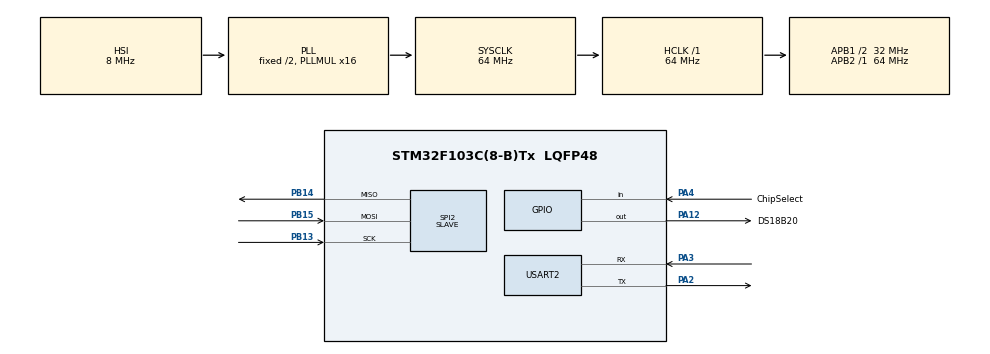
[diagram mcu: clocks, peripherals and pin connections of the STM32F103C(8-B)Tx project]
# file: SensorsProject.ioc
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Mcu.Family=STM32F1
Mcu.Name=STM32F103C(8-B)Tx
Mcu.Package=LQFP48
NVIC.PriorityGroup=NVIC_PRIORITYGROUP_4
NVIC.TIM3_IRQn=true\:10\:0\:true\:false\:true\:true\:true\:true
PA12.GPIO_Label=DS18B20
PA12.GPIO_ModeDefaultOutputPP=GPIO_MODE_OUTPUT_OD
PA12.GPIO_PuPd=GPIO_PULLUP
PA12.PinState=GPIO_PIN_SET
PA12.Signal=GPIO_Output
PA2.Mode=Asynchronous
PA2.Signal=USART2_TX
PA3.Mode=Asynchronous
PA3.Signal=USART2_RX
PA4.GPIO_Label=ChipSelect
PA4.Signal=GPIO_Input
PB13.Mode=Full_Duplex_Slave
PB13.Signal=SPI2_SCK
PB14.Mode=Full_Duplex_Slave
PB14.Signal=SPI2_MISO
PB15.Mode=Full_Duplex_Slave
PB15.Signal=SPI2_MOSI
ProjectManager.HeapSize=0x200
ProjectManager.StackSize=0x400
ProjectManager.TargetToolchain=STM32CubeIDE
RCC.AHBFreq_Value=64000000
RCC.APB1CLKDivider=RCC_HCLK_DIV2
RCC.APB1Freq_Value=32000000
RCC.APB1TimFreq_Value=64000000
RCC.APB2Freq_Value=64000000
RCC.APB2TimFreq_Value=64000000
RCC.HCLKFreq_Value=64000000
RCC.PLLMUL=RCC_PLL_MUL16
RCC.SYSCLKFreq_VALUE=64000000
RCC.SYSCLKSource=RCC_SYSCLKSOURCE_PLLCLK
RCC.USBFreq_Value=64000000
SPI2.Direction=SPI_DIRECTION_2LINES
SPI2.Mode=SPI_MODE_SLAVE
SPI2.VirtualType=VM_SLAVE
TIM3.AutoReloadPreload=TIM_AUTORELOAD_PRELOAD_DISABLE
TIM3.Period=65535
TIM3.Prescaler=63
USART2.VirtualMode=VM_ASYNC
VP_TIM3_VS_ClockSourceINT.Mode=Internal
board=custom

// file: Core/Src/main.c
/* USER CODE BEGIN Header */
/**
  ******************************************************************************
  * @file           : main.c
  * @brief          : Main program body
  ******************************************************************************
  * @attention
  *
  * Copyright (c) 2025 STMicroelectronics.
  * All rights reserved.
  *
  * This software is licensed under terms that can be found in the LICENSE file
  * in the root directory of this software component.
  * If no LICENSE file comes with this software, it is provided AS-IS.
  *
  ******************************************************************************
  */
/* USER CODE END Header */
#include "main.h"
#include "spi.h"
#include "tim.h"
#include "usart.h"
#include "gpio.h"

/* USER CODE BEGIN Includes */
#include "onewire.h"
#include "ds18b20.h"
/* USER CODE END Includes */

void SystemClock_Config(void);

/* USER CODE BEGIN 0 */
int __io_putchar(int ch)
{
    HAL_UART_Transmit(&huart2, (uint8_t*)&ch, 1, HAL_MAX_DELAY);
    return 1;
}
/* USER CODE END 0 */

int main(void)
{

  /* MCU Configuration--------------------------------------------------------*/

  /* Reset of all peripherals, Initializes the Flash interface and the Systick. */
  HAL_Init();

  /* USER CODE BEGIN Init */
  HAL_TIM_Base_Start(&htim3);  // Uruchomienie timera
  /* USER CODE END Init */

  /* Configure the system clock */
  SystemClock_Config();

  /* Initialize all configured peripherals */
  MX_GPIO_Init();
  MX_USART2_UART_Init();
  MX_TIM3_Init();
  MX_SPI2_Init();
  /* USER CODE BEGIN 2 */
  if (ds18b20_init() != HAL_OK) {
  }
  uint8_t ds1[DS18B20_ROM_CODE_SIZE];
  if (ds18b20_read_address(ds1) != HAL_OK) {
	  printf("Error ds1[DS18B20_ROM_CODE_SIZE]\r\n");
  }

  uint8_t temp_bytes[4];

  /* USER CODE END 2 */

  /* Infinite loop */
  /* USER CODE BEGIN WHILE */
  while (1)
  {
	  ds18b20_start_measure(NULL);
	  HAL_Delay(750);
	  float temp = ds18b20_get_temp(NULL);

	  memcpy(temp_bytes, &temp, sizeof(temp));

	  while(HAL_GPIO_ReadPin(ChipSelect_GPIO_Port, ChipSelect_Pin) == GPIO_PIN_SET); //Slave wykrywa że Master wysłał stan wysoki na pin CS

	  while (HAL_SPI_GetState(&hspi2) != HAL_SPI_STATE_READY); // Czekamy, aż SPI będzie gotowe

	  HAL_SPI_Transmit(&hspi2, temp_bytes, sizeof(temp_bytes), HAL_MAX_DELAY);

	  if (temp >= 80.0f)
	  {
	    printf("Sensor error...\n");
	  }
	  else
	  {
	    printf("Temperature = %.4f*C\r\n", temp);
	  }
    /* USER CODE END WHILE */

  }
}

void SystemClock_Config(void)
{
  RCC_OscInitTypeDef RCC_OscInitStruct = {0};
  RCC_ClkInitTypeDef RCC_ClkInitStruct = {0};

  /** Initializes the RCC Oscillators according to the specified parameters
  * in the RCC_OscInitTypeDef structure.
  */
  RCC_OscInitStruct.OscillatorType = RCC_OSCILLATORTYPE_HSI;
  RCC_OscInitStruct.HSIState = RCC_HSI_ON;
  RCC_OscInitStruct.HSICalibrationValue = RCC_HSICALIBRATION_DEFAULT;
  RCC_OscInitStruct.PLL.PLLState = RCC_PLL_ON;
  RCC_OscInitStruct.PLL.PLLSource = RCC_PLLSOURCE_HSI_DIV2;
  RCC_OscInitStruct.PLL.PLLMUL = RCC_PLL_MUL16;
  if (HAL_RCC_OscConfig(&RCC_OscInitStruct) != HAL_OK)
  {
    Error_Handler();
  }

  /** Initializes the CPU, AHB and APB buses clocks
  */
  RCC_ClkInitStruct.ClockType = RCC_CLOCKTYPE_HCLK|RCC_CLOCKTYPE_SYSCLK
                              |RCC_CLOCKTYPE_PCLK1|RCC_CLOCKTYPE_PCLK2;
  RCC_ClkInitStruct.SYSCLKSource = RCC_SYSCLKSOURCE_PLLCLK;
  RCC_ClkInitStruct.AHBCLKDivider = RCC_SYSCLK_DIV1;
  RCC_ClkInitStruct.APB1CLKDivider = RCC_HCLK_DIV2;
  RCC_ClkInitStruct.APB2CLKDivider = RCC_HCLK_DIV1;

  if (HAL_RCC_ClockConfig(&RCC_ClkInitStruct, FLASH_LATENCY_2) != HAL_OK)
  {
    Error_Handler();
  }
}

void Error_Handler(void)
{
  __disable_irq();
  while (1)
  {
  }
}
